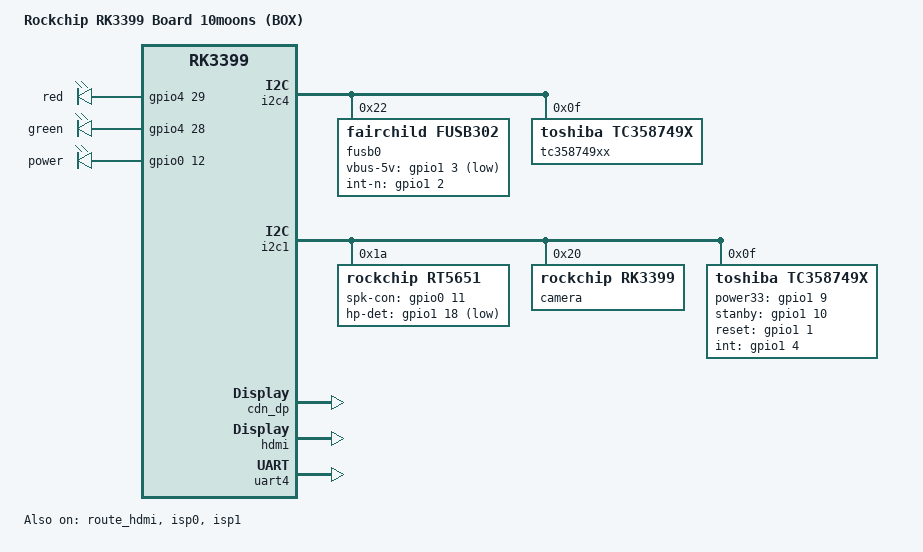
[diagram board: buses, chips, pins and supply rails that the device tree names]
/*
 * Copyright (c) 2016 Fuzhou Rockchip Electronics Co., Ltd
 *
 * This file is dual-licensed: you can use it either under the terms
 * of the GPL or the X11 license, at your option. Note that this dual
 * licensing only applies to this file, and not this project as a
 * whole.
 *
 *  a) This file is free software; you can redistribute it and/or
 *     modify it under the terms of the GNU General Public License as
 *     published by the Free Software Foundation; either version 2 of the
 *     License, or (at your option) any later version.
 *
 *     This file is distributed in the hope that it will be useful,
 *     but WITHOUT ANY WARRANTY; without even the implied warranty of
 *     MERCHANTABILITY or FITNESS FOR A PARTICULAR PURPOSE.  See the
 *     GNU General Public License for more details.
 *
 * Or, alternatively,
 *
 *  b) Permission is hereby granted, free of charge, to any person
 *     obtaining a copy of this software and associated documentation
 *     files (the "Software"), to deal in the Software without
 *     restriction, including without limitation the rights to use,
 *     copy, modify, merge, publish, distribute, sublicense, and/or
 *     sell copies of the Software, and to permit persons to whom the
 *     Software is furnished to do so, subject to the following
 *     conditions:
 *
 *     The above copyright notice and this permission notice shall be
 *     included in all copies or substantial portions of the Software.
 *
 *     THE SOFTWARE IS PROVIDED "AS IS", WITHOUT WARRANTY OF ANY KIND,
 *     EXPRESS OR IMPLIED, INCLUDING BUT NOT LIMITED TO THE WARRANTIES
 *     OF MERCHANTABILITY, FITNESS FOR A PARTICULAR PURPOSE AND
 *     NONINFRINGEMENT. IN NO EVENT SHALL THE AUTHORS OR COPYRIGHT
 *     HOLDERS BE LIABLE FOR ANY CLAIM, DAMAGES OR OTHER LIABILITY,
 *     WHETHER IN AN ACTION OF CONTRACT, TORT OR OTHERWISE, ARISING
 *     FROM, OUT OF OR IN CONNECTION WITH THE SOFTWARE OR THE USE OR
 *     OTHER DEALINGS IN THE SOFTWARE.
 */

/dts-v1/;
#include "rk3399-10moons-evb.dtsi"

/ {
	model = "Rockchip RK3399 Board 10moons (BOX)";
	compatible = "rockchip-box-10moons","rockchip,rk3399-box";
			
	leds: gpio-leds {
		compatible = "gpio-leds";
		pinctrl-names = "default";
		pinctrl-0 =<&leds_gpio>;

		led@1 {
			gpios = <&gpio4 29 GPIO_ACTIVE_HIGH>;
			label = "red";
			linux,default-trigger="default-off";
		};

		led@2 {
			gpios = <&gpio4 28 GPIO_ACTIVE_HIGH>;
			label = "green";
			linux,default-trigger="default-off";
		};

		led@3 {
			gpios = <&gpio0 12 GPIO_ACTIVE_HIGH>;
			label = "power";
			linux,default-trigger="default-on";
		};

	};
};

&pinctrl {
	pinctrl-names = "default";
	pinctrl-0 = <&cpt_gpio>;
	
	hdmiin {
		hdmiin_gpios: hdmiin_gpios {
		rockchip,pins =
				<1 0 RK_FUNC_GPIO &pcfg_pull_none>,
				<1 1 RK_FUNC_GPIO &pcfg_pull_none>,
				<1 4 RK_FUNC_GPIO &pcfg_pull_none>,
				<1 7 RK_FUNC_GPIO &pcfg_pull_none>,
				<1 8 RK_FUNC_GPIO &pcfg_pull_none>,
				<1 9 RK_FUNC_GPIO &pcfg_pull_none>,
				<1 10 RK_FUNC_GPIO &pcfg_pull_none>;
		};
	};
	
	gpio-leds {
		leds_gpio: leds-gpio {
			rockchip,pins =
				<0 12 RK_FUNC_GPIO &pcfg_pull_up>,
				<4 28 RK_FUNC_GPIO &pcfg_pull_up>,
				<4 29 RK_FUNC_GPIO &pcfg_pull_up>;
		};
	};
	
	sdio0 {
		sdio0_bus1: sdio0-bus1 {
			rockchip,pins =
				<2 20 RK_FUNC_1 &pcfg_pull_up_20ma>;
		};

		sdio0_bus4: sdio0-bus4 {
			rockchip,pins =
				<2 20 RK_FUNC_1 &pcfg_pull_up_20ma>,
				<2 21 RK_FUNC_1 &pcfg_pull_up_20ma>,
				<2 22 RK_FUNC_1 &pcfg_pull_up_20ma>,
				<2 23 RK_FUNC_1 &pcfg_pull_up_20ma>;
		};

		sdio0_cmd: sdio0-cmd {
			rockchip,pins =
				<2 24 RK_FUNC_1 &pcfg_pull_up_20ma>;
		};

		sdio0_clk: sdio0-clk {
			rockchip,pins =
				<2 25 RK_FUNC_1 &pcfg_pull_none_20ma>;
		};
	};

	sdmmc {
		sdmmc_bus1: sdmmc-bus1 {
			rockchip,pins =
				<4 8 RK_FUNC_1 &pcfg_pull_up_8ma>;
		};

		sdmmc_bus4: sdmmc-bus4 {
			rockchip,pins =
				<4 8 RK_FUNC_1 &pcfg_pull_up_8ma>,
				<4 9 RK_FUNC_1 &pcfg_pull_up_8ma>,
				<4 10 RK_FUNC_1 &pcfg_pull_up_8ma>,
				<4 11 RK_FUNC_1 &pcfg_pull_up_8ma>;
		};

		sdmmc_clk: sdmmc-clk {
			rockchip,pins =
				<4 12 RK_FUNC_1 &pcfg_pull_none_18ma>;
		};

		sdmmc_cmd: sdmmc-cmd {
			rockchip,pins =
				<4 13 RK_FUNC_1 &pcfg_pull_up_8ma>;
		};
	};

	fusb30x {
		fusb0_int: fusb0-int {
			rockchip,pins =
				<1 2 RK_FUNC_GPIO &pcfg_pull_up>;
		};
	};

	compat {
		cpt_gpio: cpt-gpio {
			rockchip,pins =
				<1 18 RK_FUNC_GPIO &pcfg_pull_up>,
				<0 2 RK_FUNC_GPIO &pcfg_pull_up>;
		};
	};
	
};

&i2c4 {
	status = "okay";
	fusb0: fusb30x@22 {
		compatible = "fairchild,fusb302";
		reg = <0x22>;
		pinctrl-names = "default";
		pinctrl-0 = <&fusb0_int>;
		vbus-5v-gpios = <&gpio1 3 GPIO_ACTIVE_LOW>;
		int-n-gpios = <&gpio1 2 GPIO_ACTIVE_HIGH>;
		status = "okay";
	};
	
	tc358749xx: tc358749xx@0f {
		compatible = "toshiba,tc358749x";
		reg = <0x0f>;
		status = "okay";
	};
};

&i2c1 {
	status = "okay";
	i2c-scl-rising-time-ns = <300>;
	i2c-scl-falling-time-ns = <15>;

	rt5651: rt5651@1a {
		#sound-dai-cells = <0>;
		compatible = "rockchip,rt5651";
		reg = <0x1a>;
		clocks = <&cru SCLK_I2S_8CH_OUT>;
		clock-names = "mclk";
		pinctrl-names = "default";
		pinctrl-0 = <&i2s_8ch_mclk>;
		spk-con-gpio = <&gpio0 11 GPIO_ACTIVE_HIGH>;
		hp-det-gpio = <&gpio1 18 GPIO_ACTIVE_LOW>;
	};
	
	camera: camera@20 {
		compatible = "rockchip,rk3399";
		reg = <0x20>;
	};
	
	tc358749x: tc358749x@0f {
		compatible = "toshiba,tc358749x";
		reg = <0x0f>;
//		power-gpios = <&gpio1 8 GPIO_ACTIVE_HIGH>;
//		power18-gpios = <&gpio1 4 GPIO_ACTIVE_HIGH>;
		power33-gpios = <&gpio1 9 GPIO_ACTIVE_HIGH>;
//		csi-ctl-gpios = <&gpio1 0 GPIO_ACTIVE_HIGH>;
		stanby-gpios = <&gpio1 10 GPIO_ACTIVE_HIGH>;
		reset-gpios = <&gpio1 1 GPIO_ACTIVE_HIGH>;
		int-gpios = <&gpio1 4 GPIO_ACTIVE_HIGH>;
		pinctrl-names = "default";
		pinctrl-0 = <&hdmiin_gpios>;
		status = "okay";
	};
};
	
&cdn_dp {
	status = "okay";
	extcon = <&fusb0>;
};

&hdmi_in_vopl {
	status = "disabled";
};

&dp_in_vopb {
	status = "disabled";
};

&route_hdmi {
	status = "okay";
};

&hdmi {
	status = "okay";
	rockchip,phy-table =
		<74250000 0x8009 0x0004 0x0272>,
		<165000000 0x802b 0x0004 0x0209>,
		<297000000 0x8039 0x0005 0x028d>,
		<594000000 0x8039 0x0000 0x019d>,
		<000000000 0x0000 0x0000 0x0000>;
};


&isp0 {
	status = "okay";
	rockchip,gpios = <&gpio1 0 GPIO_ACTIVE_HIGH>;
};

&isp0_mmu {
	status = "okay";
};

&isp1 {
	status = "okay";
};

&isp1_mmu {
	status = "okay";
};

&vopb {
	assigned-clocks = <&cru DCLK_VOP0_DIV>;
	assigned-clock-parents = <&cru PLL_VPLL>;
};

&vopl {
	assigned-clocks = <&cru DCLK_VOP1_DIV>;
	assigned-clock-parents = <&cru PLL_CPLL>;
};

&uart4 {
	status = "okay";
};
